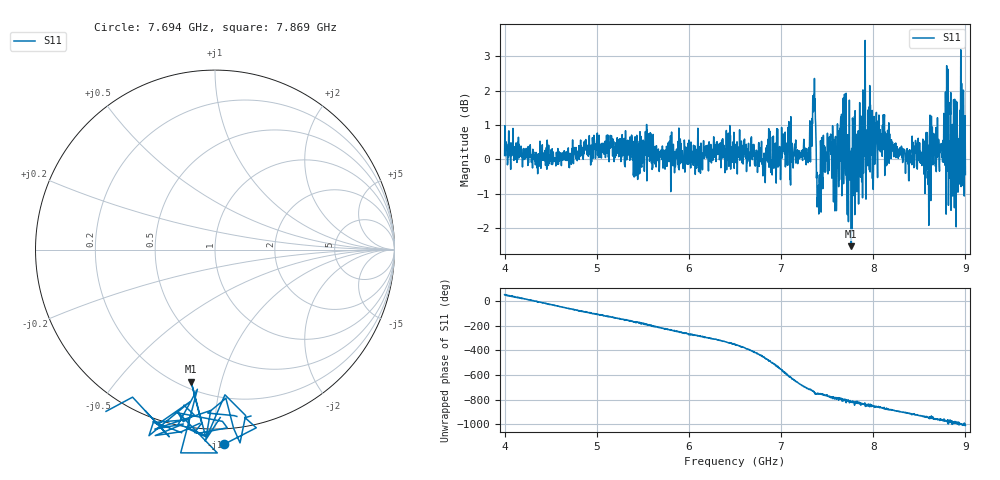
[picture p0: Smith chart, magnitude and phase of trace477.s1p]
! Created with skrf 1.8.0 (http://scikit-rf.org).
# Hz S RI R 50.0
!freq ReS11 ImS11
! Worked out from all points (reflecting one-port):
!   1601 points, 4 GHz to 9 GHz, reference 50 ohm
!   lowest |S11| = -2.5 dB at 7.762 GHz (marker M1), VSWR 6.91, Z = 12.1 - j40.3 ohm
!   phase of S11 starts at 51 deg and turns -1058 deg over the sweep
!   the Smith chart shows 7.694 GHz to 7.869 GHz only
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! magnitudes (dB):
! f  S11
! 4 GHz  0.1
! 4.625 GHz  0.0
! 5.25 GHz  0.1
! 5.875 GHz  0.2
! 6.5 GHz  0.3
! 6.806 GHz  -0.1
! 6.859 GHz  0.6
! 7.125 GHz  0.3
! 7.294 GHz  -0.1
! 7.35 GHz  1.4
! 7.409 GHz  -1.6
! 7.481 GHz  -0.4
! 7.547 GHz  0.5
! 7.591 GHz  0.7
! 7.662 GHz  0.0
! 7.75 GHz  0.0
! 7.762 GHz  -2.5
! 7.891 GHz  0.3
! 8.375 GHz  0.0
! 8.522 GHz  0.0
! 8.581 GHz  -0.3
! 8.656 GHz  0.8
! 8.766 GHz  1.3
! 8.788 GHz  -0.5
! 8.841 GHz  1.9
! 8.919 GHz  -1.0
! 8.959 GHz  2.2
! 9 GHz  -0.4
